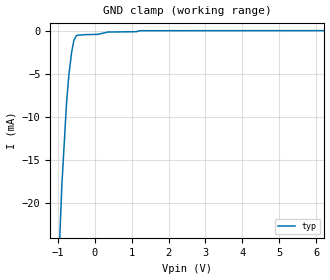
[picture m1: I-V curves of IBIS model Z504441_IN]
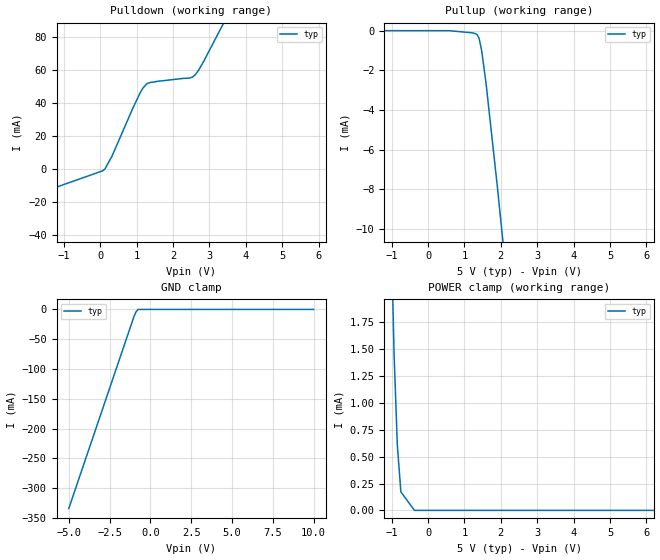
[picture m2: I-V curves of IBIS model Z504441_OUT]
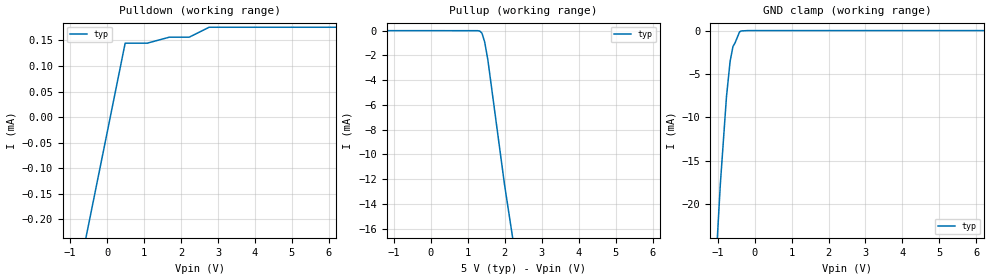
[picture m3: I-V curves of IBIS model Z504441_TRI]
| YOU ARE ONLY AUTHORIZED TO USE THIS SOFTWARE
| ACCORDING TO LICENSOR'S LICENSE RESTRICTIONS.
[IBIS Ver] 3.1
[File Name] sn54ls348j.ibs
[File Rev] 2.0
[Source] Measured and created by ICX Technology
[Date] Friday 7/14/00 9:08:14 AM
[Copyright]
| (C) COPYRIGHT 1993-2000
| MENTOR GRAPHICS CORPORATION
| ICX STANDARD LIBRARY, ICX PROJECT MODELING,
| ICX CUSTOM MODELING, ICX VENDOR MODEL
| ALL RIGHTS RESERVED.
| THE FOLLOWING ARE TRADEMARKS OR SERVICE MARKS OF
| MENTOR GRAPHICS CORPORATION:ICX (R), ICX STANDARD
| LIBRARY(R), ICX PROJECT MODELING(R), ICX CUSTOM
| MODELING(R), qualityIBIS(TM), MODELVIEWER(TM),
| AND MODELEDITOR(TM)
| ALL COPIES OF SOFTWARE, INCLUDING BUT NOT LIMITED TO
| ANY MODIFICATIONS, ENHANCEMENTS OR DERIVATIVE WORKS,
| MUST CONTAIN ALL MENTOR GRAPHICS CORPORATION'S
| NOTICES AND LEGENDS, INCLUDING THOSE EMBEDDED IN
| SOFTWARE AND THOSE AFFIXED TO SOFTWARE MEDIUM
| AND CONTAINER, AS RECEIVED FROM MENTOR GRAPHICS
| CORPORATION.
|  ZAP Model Builder 2.7
[Component] SN54LS348J
[Manufacturer] OnSemiconductor
[Package]
| variable   typ   min   max
R_pkg  .212ohms NA NA
L_pkg  4.758nH NA NA
C_pkg  1.944pF NA NA
[Pin] signal_name  model_name  R_pin  L_pin C_pin
1 _D4 Z504441_IN .224 7.258n 2.683p
2 _D5 Z504441_IN .216 5.258n 2.19p
3 _D6 Z504441_IN .208 3.758n 1.697p
4 _D7 Z504441_IN .2 2.758n 1.204p
5 EI Z504441_IN .2 2.758n 1.204p
6 _Y2 Z504441_TRI .208 3.758n 1.697p
7 _Y1 Z504441_TRI .216 5.258n 2.19p
8 GND GND .224 7.258n 2.683p
9 _Y0 Z504441_TRI .224 7.258n 2.683p
10 _D0 Z504441_IN .216 5.258n 2.19p
11 _D1 Z504441_IN .208 3.758n 1.697p
12 _D2 Z504441_IN .2 2.758n 1.204p
13 _D3 Z504441_IN .2 2.758n 1.204p
14 _GS Z504441_OUT .208 3.758n 1.697p
15 EO Z504441_OUT .216 5.258n 2.19p
16 VCC POWER .224 7.258n 2.683p
| Models and submodels in the file (3): Z504441_IN (Input), Z504441_OUT (Output), Z504441_TRI (3-state)
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| (C) COPYRIGHT 1993-2000
| MENTOR GRAPHICS CORPORATION
| ICX STANDARD LIBRARY, ICX PROJECT MODELING,
| ICX CUSTOM MODELING, ICX VENDOR MODEL
| ALL RIGHTS RESERVED.
| THE FOLLOWING ARE TRADEMARKS OR SERVICE MARKS OF
| MENTOR GRAPHICS CORPORATION:ICX (R), ICX STANDARD
| LIBRARY(R), ICX PROJECT MODELING(R), ICX CUSTOM
| MODELING(R), qualityIBIS(TM), MODELVIEWER(TM),
| AND MODELEDITOR(TM)
| ALL COPIES OF SOFTWARE, INCLUDING BUT NOT LIMITED TO
| ANY MODIFICATIONS, ENHANCEMENTS OR DERIVATIVE WORKS,
| MUST CONTAIN ALL MENTOR GRAPHICS CORPORATION'S
| NOTICES AND LEGENDS, INCLUDING THOSE EMBEDDED IN
| SOFTWARE AND THOSE AFFIXED TO SOFTWARE MEDIUM
| AND CONTAINER, AS RECEIVED FROM MENTOR GRAPHICS
| CORPORATION.
| Model Application Version 1.89 2/18/99.
[Model] Z504441_IN
Model_type Input
Vinl = 800.0mV
Vinh = 2.000V
C_comp 4.000pF NA NA
| variable typ   min   max
[Voltage Range] 5.000V NA NA
[GND Clamp Reference] 0.000V NA NA
[POWER Clamp Reference] 5.000V NA NA
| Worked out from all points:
|   GND clamp passes 1 mA (typ) near -0.55 V on its own axis
[GND Clamp]
-5V       -455.4mA   NA         NA
-885.2mV  -17.87mA   NA         NA
-761.7mV  -8.513mA   NA         NA
-698.1mV  -5.204mA   NA         NA
-621.2mV  -2.483mA   NA         NA
-559.5mV  -1.101mA   NA         NA
-499.9mV  -630.5uA   NA         NA
-462.4mV  -526.5uA   NA         NA
91.93mV   -429.1uA   NA         NA
351.6mV   -159.8uA   NA         NA
1.226V    -4.505uA   NA         NA
10V       10.12uA    NA         NA
[POWER Clamp]
-5V       0A         NA         NA
10V       0A         NA         NA
| (C) COPYRIGHT 1993-2000
| MENTOR GRAPHICS CORPORATION
| ICX STANDARD LIBRARY, ICX PROJECT MODELING,
| ICX CUSTOM MODELING, ICX VENDOR MODEL
| ALL RIGHTS RESERVED.
| THE FOLLOWING ARE TRADEMARKS OR SERVICE MARKS OF
| MENTOR GRAPHICS CORPORATION:ICX (R), ICX STANDARD
| LIBRARY(R), ICX PROJECT MODELING(R), ICX CUSTOM
| MODELING(R), qualityIBIS(TM), MODELVIEWER(TM),
| AND MODELEDITOR(TM)
| ALL COPIES OF SOFTWARE, INCLUDING BUT NOT LIMITED TO
| ANY MODIFICATIONS, ENHANCEMENTS OR DERIVATIVE WORKS,
| MUST CONTAIN ALL MENTOR GRAPHICS CORPORATION'S
| NOTICES AND LEGENDS, INCLUDING THOSE EMBEDDED IN
| SOFTWARE AND THOSE AFFIXED TO SOFTWARE MEDIUM
| AND CONTAINER, AS RECEIVED FROM MENTOR GRAPHICS
| CORPORATION.
| Model Application Version 1.89 2/18/99.
[Model] Z504441_OUT
Model_type Output
Vref=5.000V
Rref=2.000kohms
Cref=15.00pF
Vmeas=1.300V
C_comp 8.000pF NA NA
| variable typ   min   max
[Voltage Range] 5.000V NA NA
[POWER Clamp Reference] 5.000V NA NA
[Pullup Reference] 5.000V NA NA
[Pulldown Reference] 0.000V NA NA
[GND Clamp Reference] 0.000V NA NA
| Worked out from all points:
|   slope of the pulldown table from 0 to 0.75 V, typ, clamps not added: 24.2 ohm
|   slope of the pullup table from 0 to 0.75 V, typ, clamps not added: 26.4 kohm
|   GND clamp passes 1 mA (typ) near -0.78 V on its own axis
|   POWER clamp passes 1 mA (typ) near -0.89 V on its own axis
[GND Clamp]
-5V       -334mA     NA         NA
-1.005V   -11.87mA   NA         NA
-874mV    -3.642mA   NA         NA
-749.1mV  0A         NA         NA
10V       0A         NA         NA
[Pulldown]
-5V       -40.32mA   NA         NA
68.36mV   -837uA     NA         NA
131.8mV   358uA      NA         NA
322.2mV   7.965mA    NA         NA
903.3mV   37.44mA    NA         NA
1.094V    46.25mA    NA         NA
1.27V     51.68mA    NA         NA
1.388V    52.77mA    NA         NA
2.539V    56.01mA    NA         NA
2.62V     57.57mA    NA         NA
2.851V    65.82mA    NA         NA
10V       369.2mA    NA         NA
[Pullup]
-5V       12.14uA    NA         NA
586mV     12.14uA    NA         NA
1.242V    -101.3uA   NA         NA
1.343V    -173.9uA   NA         NA
1.401V    -368.2uA   NA         NA
1.472V    -988.3uA   NA         NA
1.597V    -2.711mA   NA         NA
1.904V    -7.878mA   NA         NA
10V       -154.1mA   NA         NA
[POWER Clamp]
-5V       59.98mA    NA         NA
-933mV    1.452mA    NA         NA
-844mV    608.2uA    NA         NA
-747mV    172.3uA    NA         NA
-373.5mV  0A         NA         NA
10V       0A         NA         NA
[Ramp]
| variable typ min max
dV/dt_r 1.850/4.663n NA NA
dV/dt_f 1.850/3.367n NA NA
R_load = 500.0Ohms
| (C) COPYRIGHT 1993-2000
| MENTOR GRAPHICS CORPORATION
| ICX STANDARD LIBRARY, ICX PROJECT MODELING,
| ICX CUSTOM MODELING, ICX VENDOR MODEL
| ALL RIGHTS RESERVED.
| THE FOLLOWING ARE TRADEMARKS OR SERVICE MARKS OF
| MENTOR GRAPHICS CORPORATION:ICX (R), ICX STANDARD
| LIBRARY(R), ICX PROJECT MODELING(R), ICX CUSTOM
| MODELING(R), qualityIBIS(TM), MODELVIEWER(TM),
| AND MODELEDITOR(TM)
| ALL COPIES OF SOFTWARE, INCLUDING BUT NOT LIMITED TO
| ANY MODIFICATIONS, ENHANCEMENTS OR DERIVATIVE WORKS,
| MUST CONTAIN ALL MENTOR GRAPHICS CORPORATION'S
| NOTICES AND LEGENDS, INCLUDING THOSE EMBEDDED IN
| SOFTWARE AND THOSE AFFIXED TO SOFTWARE MEDIUM
| AND CONTAINER, AS RECEIVED FROM MENTOR GRAPHICS
| CORPORATION.
| Model Application Version 1.89 2/18/99.
[Model] Z504441_TRI
Model_type 3-state
Vref=588.0mV
Rref=588.5ohms
Cref=45.00pF
Vmeas=1.300V
C_comp 8.000pF NA NA
| variable typ   min   max
[Voltage Range] 5.000V NA NA
[POWER Clamp Reference] 5.000V NA NA
[Pullup Reference] 5.000V NA NA
[Pulldown Reference] 0.000V NA NA
[GND Clamp Reference] 0.000V NA NA
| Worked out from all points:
|   slope of the pulldown table from 0 to 0.75 V, typ, clamps not added: 4.28 kohm
|   GND clamp passes 1 mA (typ) near -0.49 V on its own axis
[GND Clamp]
-5V       -367.9mA   NA         NA
-1.24V    -41.46mA   NA         NA
-928.1mV  -17.7mA    NA         NA
-761.7mV  -7.608mA   NA         NA
-662.9mV  -3.528mA   NA         NA
-586.1mV  -1.841mA   NA         NA
-528mV    -1.4mA     NA         NA
-409.4mV  -167.5uA   NA         NA
-371mV    -46.36uA   NA         NA
-185.5mV  0A         NA         NA
10V       0A         NA         NA
[Pulldown]
-5V       -1.826mA   NA         NA
487.9mV   144.7uA    NA         NA
1.086V    144.7uA    NA         NA
1.685V    156.5uA    NA         NA
2.222V    156.5uA    NA         NA
2.759V    175.9uA    NA         NA
10V       175.9uA    NA         NA
[Pullup]
-5V       10.65uA    NA         NA
1.262V    1.892uA    NA         NA
1.325V    -27.04uA   NA         NA
1.382V    -201.1uA   NA         NA
1.454V    -887.6uA   NA         NA
1.542V    -2.354mA   NA         NA
1.992V    -12.42mA   NA         NA
10V       -168.9mA   NA         NA
[POWER Clamp]
-5V       0A         NA         NA
10V       0A         NA         NA
[Ramp]
| variable typ min max
dV/dt_r 1.955/22.88n NA NA
dV/dt_f 1.955/8.080n NA NA
R_load = 500.0Ohms
